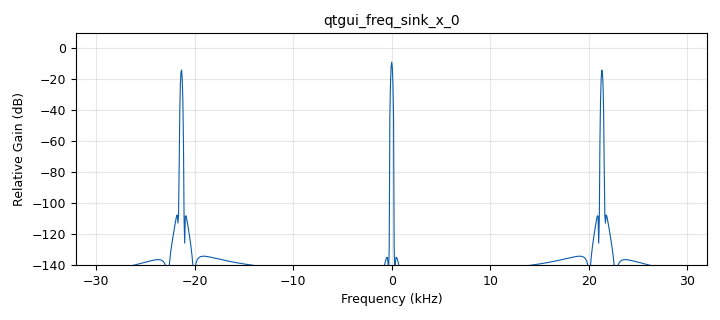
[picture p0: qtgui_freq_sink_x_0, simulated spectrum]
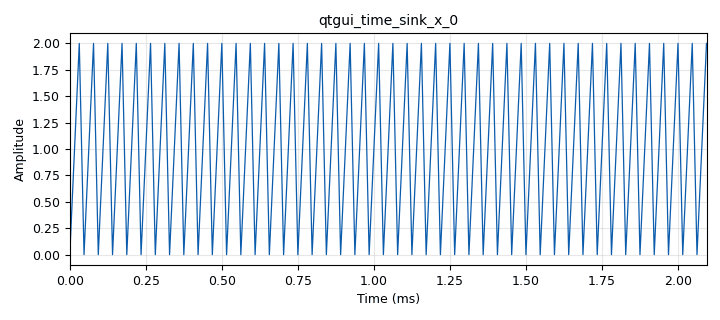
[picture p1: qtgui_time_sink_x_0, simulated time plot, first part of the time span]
options:
  parameters:
    author: labcom
    generate_options: qt_gui
    id: python_block
    output_language: python
    title: Not titled yet
  states: {}

blocks:
- name: A
  id: variable_qtgui_range
  parameters:
    label: Amplitud
    start: '0'
    step: '0.5'
    stop: '10'
    value: '2'
  states: {}
- name: freq
  id: variable_qtgui_range
  parameters:
    label: Frecuencia
    start: '1000'
    step: '1'
    stop: 1e6
    value: '1000'
  states: {}
- name: offset
  id: variable_qtgui_range
  parameters:
    label: offset
    start: '0'
    step: '1'
    stop: '10'
    value: '0'
  states: {}
- name: samp_rate
  id: variable
  parameters:
    value: '64000'
  states: {}
- name: CalculoPotenciaComunicaciones_0
  id: CalculoPotenciaComunicaciones
  parameters:
    l_vect: '1024'
  states: {}
- name: blocks_vector_source_x_0
  id: blocks_vector_source_x
  parameters:
    repeat: 'True'
    type: float
    vector: (2, 0, 1)
  states: {}
- name: epy_block_0
  id: epy_block
  parameters:
    _source_code: |
      import numpy as np
      from gnuradio import gr

      class blk (gr. sync_block ):

      	def __init__ ( self ) : # only default arguments here
      		gr. sync_block . __init__ (
      		self ,
      		name = "Promedios_de_tiempos", # will show up in GRC
      		in_sig =[ np. float32 ],
      		out_sig =[ np. float32 ,np. float32 ,np. float32 ,np. float32 ,np. float32 ]
      		)
      		self . acum_anterior = 0
      		self . Ntotales = 0
      		self . acum_anterior1 = 0
      		self . acum_anterior2 = 0
      		
      	def work (self , input_items , output_items ):
      		x = input_items [0] # Senial de entrada .
      		y0 = output_items [0] # Promedio de la senial
      		y1 = output_items [1] # Media de la senial
      		y2 = output_items [2] # RMS de la senial
      		y3 = output_items [3] # Potencia promedio de la senial
      		y4 = output_items [4] # Desviacion estandar de la senial
      		# Calculo del promedio
      		N = len (x)
      		self . Ntotales = self . Ntotales + N
      		acumulado = self . acum_anterior + np. cumsum (x)
      		self . acum_anterior = acumulado [N -1]
      		y0 [:]= acumulado / self . Ntotales
      		# Calculo de la media cuadratica
      		x2=np. multiply (x,x)
      		acumulado1 = self . acum_anterior1 + np. cumsum (x2)
      		self . acum_anterior1 = acumulado1[N -1]
      		y1 [:] = acumulado1 / self . Ntotales
      		# Calculo de la RMS
      		y2 [:] = np. sqrt (y1)
      		# Calculo de la potencia promedio
      		y3 [:] = np. multiply (y2 ,y2)
      		# Calculo de la desviacion estandar
      		x3 = np. multiply (x-y0 ,x-y0)
      		acumulado2 = self . acum_anterior2 + np. cumsum (x3)
      		self . acum_anterior2 = acumulado2 [N -1]

      		y4 [:] = np. sqrt ( acumulado2 / self . Ntotales )
      		return len(x)
  states: {}
- name: qtgui_freq_sink_x_0
  id: qtgui_freq_sink_x
  parameters:
    bw: samp_rate
    fc: '0'
    fftsize: '1024'
    type: float
  states: {}
- name: qtgui_number_sink_0
  id: qtgui_number_sink
  parameters:
    graph_type: qtgui.NUM_GRAPH_HORIZ
    nconnections: '5'
    type: float
  states: {}
- name: qtgui_time_sink_x_0
  id: qtgui_time_sink_x
  parameters:
    autoscale: 'True'
    size: '1024'
    srate: samp_rate
    type: float
  states: {}

connections:
- [blocks_vector_source_x_0, '0', CalculoPotenciaComunicaciones_0, '0']
- [blocks_vector_source_x_0, '0', epy_block_0, '0']
- [blocks_vector_source_x_0, '0', qtgui_freq_sink_x_0, '0']
- [blocks_vector_source_x_0, '0', qtgui_time_sink_x_0, '0']
- [epy_block_0, '0', qtgui_number_sink_0, '0']
- [epy_block_0, '1', qtgui_number_sink_0, '1']
- [epy_block_0, '2', qtgui_number_sink_0, '2']
- [epy_block_0, '3', qtgui_number_sink_0, '3']
- [epy_block_0, '4', qtgui_number_sink_0, '4']

metadata:
  file_format: 1
  grc_version: 3.9.8.0
